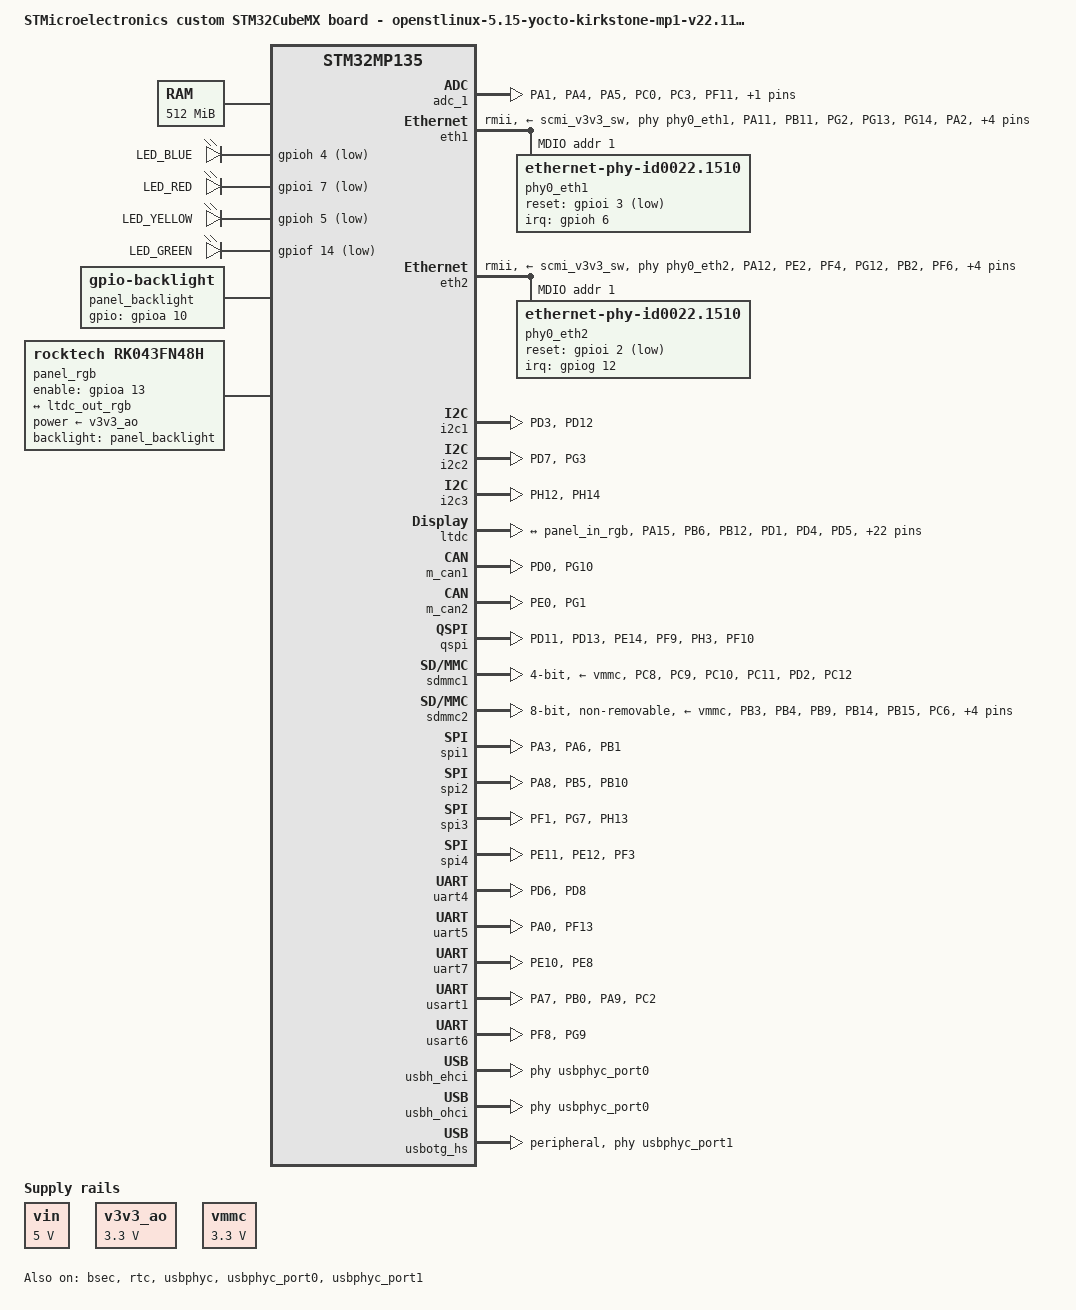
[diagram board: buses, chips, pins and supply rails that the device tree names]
/* SPDX-License-Identifier: (GPL-2.0+ OR BSD-3-Clause) */
/*
 * Copyright (C) STMicroelectronics 2023 - All Rights Reserved
 * Author: STM32CubeMX code generation for STMicroelectronics.
 */

/* For more information on Device Tree configuration, please refer to
 * https://wiki.st.com/stm32mpu/wiki/Category:Device_tree_configuration
 */

/dts-v1/;
#include <dt-bindings/pinctrl/stm32-pinfunc.h>

#include "stm32mp135.dtsi"
#include "stm32mp13xf.dtsi"

/* USER CODE BEGIN includes */
#include <dt-bindings/gpio/gpio.h>
#include <dt-bindings/input/input.h>
#include <dt-bindings/leds/common.h>
/* USER CODE END includes */

/ {
	model = "STMicroelectronics custom STM32CubeMX board - openstlinux-5.15-yocto-kirkstone-mp1-v22.11.23";
	compatible = "st,stm32mp135f-sagittarius-mx", "st,stm32mp135";

	memory@c0000000 {
		device_type = "memory";
		reg = <0xc0000000 0x20000000>;

		/* USER CODE BEGIN memory */
		/* USER CODE END memory */
	};

	reserved-memory {
		#address-cells = <1>;
		#size-cells = <1>;
		ranges;

		/* USER CODE BEGIN reserved-memory */
		optee_framebuffer@dd000000 {
			reg = <0xdd000000 0x1000000>;
			no-map;
		};

		optee@de000000 {
			reg = <0xde000000 0x2000000>;
			no-map;
		};
		/* USER CODE END reserved-memory */
	};

	/* USER CODE BEGIN root */
	aliases {
		serial0 = &uart4;
		serial1 = &uart5;
		serial2 = &uart7;
		serial3 = &usart1;
		serial4 = &usart6;
		ethernet0 = &eth1;
		ethernet1 = &eth2;
	};
	
	chosen {
		#address-cells = <1>;
		#size-cells = <1>;
		ranges;
		stdout-path = "serial0:115200n8";

		framebuffer {
			compatible = "simple-framebuffer";
			clocks = <&rcc LTDC_PX>;
			status = "disabled";
		};
	};

	led{
		compatible = "gpio-leds";

		led_blue{
			label = "LED_BLUE";
			gpios = <&gpioh 4 GPIO_ACTIVE_LOW>;
			linux,default-trigger = "heartbeat";
			status = "okay";
			default-state = "off";
		};

		led_red{
			label = "LED_RED";
			gpios = <&gpioi 7 GPIO_ACTIVE_LOW>;
			linux,default-trigger = "cpu0";
			status = "okay";
			default-state = "off";
		};

		led_yellow{
			label = "LED_YELLOW";
			gpios = <&gpioh 5 GPIO_ACTIVE_LOW>;
			linux,default-trigger = "mmc0";
			status = "okay";
			default-state = "off";
		};

		led_green{
			label = "LED_GREEN";
			gpios = <&gpiof 14 GPIO_ACTIVE_LOW>;
			linux,default-trigger = "mmc1";
			status = "okay";
			default-state = "off";
		};
	};
	
	vin: vin {
		compatible = "regulator-fixed";
		regulator-name = "vin";
		regulator-min-microvolt = <5000000>;
		regulator-max-microvolt = <5000000>;
		regulator-always-on;
	};

	v3v3_ao: v3v3_ao {
		compatible = "regulator-fixed";
		regulator-name = "v3v3_ao";
		regulator-min-microvolt = <3300000>;
		regulator-max-microvolt = <3300000>;
		regulator-always-on;
	};
	
	vmmc: fixedregulator@1 {
		compatible = "regulator-fixed";
		regulator-name = "vmmc";
		regulator-min-microvolt = <3300000>;
		regulator-max-microvolt = <3300000>;
		startup-delay-us = <70000>;
		enable-active-high;
	};

	usb_phy_tuning:usb-phy-tuning{
		st,hs-dc-level = <2>;
		st,fs-rftime-tuning;
		st,hs-rftime-reduction;
		st,hs-current-trim = <15>;
		st,hs-impedance-trim = <1>;
		st,squelch-level = <3>;
		st,hs-rx-offset = <2>;
		st,no-lsfs-sc;
	};

	panel_backlight: panel-backlight {
		compatible = "gpio-backlight";
		gpios = <&gpioa 10 GPIO_ACTIVE_HIGH>;
		default-on;
		default-brightness-level = <0>;
		status = "okay";
	};

	panel_rgb: panel-rgb {
		compatible = "rocktech,rk043fn48h", "panel-dpi";
		enable-gpios = <&gpioa 13 GPIO_ACTIVE_HIGH>;
		backlight = <&panel_backlight>;
		power-supply = <&v3v3_ao>;
		data-mapping = "bgr888";
		status = "okay";

		width-mm = <56>;
		height-mm = <97>;

		port {
			panel_in_rgb: endpoint {
				remote-endpoint = <&ltdc_out_rgb>;
			};
		};

		panel-timing {
			clock-frequency = <33260000>;
			hactive = <800>;
			vactive = <480>;
			hback-porch = <0>;
			hfront-porch = <256>;
			vback-porch = <0>;
			vfront-porch = <45>;
			hsync-len = <1>;
			vsync-len = <1>;
			hsync-active = <0>;
			vsync-active = <0>;
			de-active = <1>;
			pixelclk-active = <1>;
		};
	};
	/* USER CODE END root */

	clocks {

		/* USER CODE BEGIN clocks */
		/* USER CODE END clocks */
	};

}; /*root*/

&pinctrl {

	adc1_pins_mx: adc1_mx-0 {
		pins {
			pinmux = <STM32_PINMUX('A', 1, ANALOG)>, /* ADC1_INP3 */
					 <STM32_PINMUX('A', 4, ANALOG)>, /* ADC1_INP14 */
					 <STM32_PINMUX('A', 5, ANALOG)>, /* ADC1_INP2 */
					 <STM32_PINMUX('C', 0, ANALOG)>, /* ADC1_INP0 */
					 <STM32_PINMUX('C', 3, ANALOG)>, /* ADC1_INP13 */
					 <STM32_PINMUX('F', 11, ANALOG)>, /* ADC1_INP8 */
					 <STM32_PINMUX('F', 12, ANALOG)>; /* ADC1_INP6 */
		};
	};

	adc1_sleep_pins_mx: adc1_sleep_mx-0 {
		pins {
			pinmux = <STM32_PINMUX('A', 1, ANALOG)>, /* ADC1_INP3 */
					 <STM32_PINMUX('A', 4, ANALOG)>, /* ADC1_INP14 */
					 <STM32_PINMUX('A', 5, ANALOG)>, /* ADC1_INP2 */
					 <STM32_PINMUX('C', 0, ANALOG)>, /* ADC1_INP0 */
					 <STM32_PINMUX('C', 3, ANALOG)>, /* ADC1_INP13 */
					 <STM32_PINMUX('F', 11, ANALOG)>, /* ADC1_INP8 */
					 <STM32_PINMUX('F', 12, ANALOG)>; /* ADC1_INP6 */
		};
	};

	eth1_pins_mx: eth1_mx-0 {
		pins1 {
			pinmux = <STM32_PINMUX('A', 11, AF11)>, /* ETH1_CLK */
					 <STM32_PINMUX('B', 11, AF11)>, /* ETH1_TX_EN */
					 <STM32_PINMUX('G', 2, AF11)>, /* ETH1_MDC */
					 <STM32_PINMUX('G', 13, AF11)>, /* ETH1_TXD0 */
					 <STM32_PINMUX('G', 14, AF11)>; /* ETH1_TXD1 */
			bias-disable;
			drive-push-pull;
			slew-rate = <1>;
		};
		pins2 {
			pinmux = <STM32_PINMUX('A', 2, AF11)>; /* ETH1_MDIO */
			bias-disable;
			drive-push-pull;
			slew-rate = <0>;
		};
		pins3 {
			pinmux = <STM32_PINMUX('C', 1, AF10)>, /* ETH1_CRS_DV */
					 <STM32_PINMUX('C', 4, AF11)>, /* ETH1_RXD0 */
					 <STM32_PINMUX('C', 5, AF11)>, /* ETH1_RXD1 */
					 <STM32_PINMUX('H', 6, AF10)>; /* ETH1_PHY_INTN */
			bias-disable;
		};
	};

	eth1_sleep_pins_mx: eth1_sleep_mx-0 {
		pins {
			pinmux = <STM32_PINMUX('A', 2, ANALOG)>, /* ETH1_MDIO */
					 <STM32_PINMUX('A', 11, ANALOG)>, /* ETH1_CLK */
					 <STM32_PINMUX('B', 11, ANALOG)>, /* ETH1_TX_EN */
					 <STM32_PINMUX('C', 1, ANALOG)>, /* ETH1_CRS_DV */
					 <STM32_PINMUX('C', 4, ANALOG)>, /* ETH1_RXD0 */
					 <STM32_PINMUX('C', 5, ANALOG)>, /* ETH1_RXD1 */
					 <STM32_PINMUX('G', 2, ANALOG)>, /* ETH1_MDC */
					 <STM32_PINMUX('G', 13, ANALOG)>, /* ETH1_TXD0 */
					 <STM32_PINMUX('G', 14, ANALOG)>, /* ETH1_TXD1 */
					 <STM32_PINMUX('H', 6, ANALOG)>; /* ETH1_PHY_INTN */
		};
	};

	eth2_pins_mx: eth2_mx-0 {
		pins1 {
			pinmux = <STM32_PINMUX('A', 12, AF11)>, /* ETH2_CRS_DV */
					 <STM32_PINMUX('E', 2, AF10)>, /* ETH2_RXD1 */
					 <STM32_PINMUX('F', 4, AF11)>, /* ETH2_RXD0 */
					 <STM32_PINMUX('G', 12, AF10)>; /* ETH2_PHY_INTN */
			bias-disable;
		};
		pins2 {
			pinmux = <STM32_PINMUX('B', 2, AF11)>; /* ETH2_MDIO */
			bias-disable;
			drive-push-pull;
			slew-rate = <0>;
		};
		pins3 {
			pinmux = <STM32_PINMUX('F', 6, AF11)>, /* ETH2_TX_EN */
					 <STM32_PINMUX('F', 7, AF11)>, /* ETH2_TXD0 */
					 <STM32_PINMUX('G', 5, AF10)>, /* ETH2_MDC */
					 <STM32_PINMUX('G', 8, AF13)>, /* ETH2_CLK */
					 <STM32_PINMUX('G', 11, AF10)>; /* ETH2_TXD1 */
			bias-disable;
			drive-push-pull;
			slew-rate = <1>;
		};
	};

	eth2_sleep_pins_mx: eth2_sleep_mx-0 {
		pins {
			pinmux = <STM32_PINMUX('A', 12, ANALOG)>, /* ETH2_CRS_DV */
					 <STM32_PINMUX('B', 2, ANALOG)>, /* ETH2_MDIO */
					 <STM32_PINMUX('E', 2, ANALOG)>, /* ETH2_RXD1 */
					 <STM32_PINMUX('F', 4, ANALOG)>, /* ETH2_RXD0 */
					 <STM32_PINMUX('F', 6, ANALOG)>, /* ETH2_TX_EN */
					 <STM32_PINMUX('F', 7, ANALOG)>, /* ETH2_TXD0 */
					 <STM32_PINMUX('G', 5, ANALOG)>, /* ETH2_MDC */
					 <STM32_PINMUX('G', 8, ANALOG)>, /* ETH2_CLK */
					 <STM32_PINMUX('G', 11, ANALOG)>, /* ETH2_TXD1 */
					 <STM32_PINMUX('G', 12, ANALOG)>; /* ETH2_PHY_INTN */
		};
	};

	fdcan1_pins_mx: fdcan1_mx-0 {
		pins1 {
			pinmux = <STM32_PINMUX('D', 0, AF9)>; /* FDCAN1_RX */
			bias-disable;
		};
		pins2 {
			pinmux = <STM32_PINMUX('G', 10, AF9)>; /* FDCAN1_TX */
			bias-disable;
			drive-push-pull;
			slew-rate = <0>;
		};
	};

	fdcan1_sleep_pins_mx: fdcan1_sleep_mx-0 {
		pins {
			pinmux = <STM32_PINMUX('D', 0, ANALOG)>, /* FDCAN1_RX */
					 <STM32_PINMUX('G', 10, ANALOG)>; /* FDCAN1_TX */
		};
	};

	fdcan2_pins_mx: fdcan2_mx-0 {
		pins1 {
			pinmux = <STM32_PINMUX('E', 0, AF9)>; /* FDCAN2_RX */
			bias-disable;
		};
		pins2 {
			pinmux = <STM32_PINMUX('G', 1, AF9)>; /* FDCAN2_TX */
			bias-disable;
			drive-push-pull;
			slew-rate = <0>;
		};
	};

	fdcan2_sleep_pins_mx: fdcan2_sleep_mx-0 {
		pins {
			pinmux = <STM32_PINMUX('E', 0, ANALOG)>, /* FDCAN2_RX */
					 <STM32_PINMUX('G', 1, ANALOG)>; /* FDCAN2_TX */
		};
	};

	i2c1_pins_mx: i2c1_mx-0 {
		pins {
			pinmux = <STM32_PINMUX('D', 3, AF5)>, /* I2C1_SDA */
					 <STM32_PINMUX('D', 12, AF5)>; /* I2C1_SCL */
			bias-disable;
			drive-open-drain;
			slew-rate = <0>;
		};
	};

	i2c1_sleep_pins_mx: i2c1_sleep_mx-0 {
		pins {
			pinmux = <STM32_PINMUX('D', 3, ANALOG)>, /* I2C1_SDA */
					 <STM32_PINMUX('D', 12, ANALOG)>; /* I2C1_SCL */
		};
	};

	i2c2_pins_mx: i2c2_mx-0 {
		pins {
			pinmux = <STM32_PINMUX('D', 7, AF4)>, /* I2C2_SCL */
					 <STM32_PINMUX('G', 3, AF4)>; /* I2C2_SDA */
			bias-disable;
			drive-open-drain;
			slew-rate = <0>;
		};
	};

	i2c2_sleep_pins_mx: i2c2_sleep_mx-0 {
		pins {
			pinmux = <STM32_PINMUX('D', 7, ANALOG)>, /* I2C2_SCL */
					 <STM32_PINMUX('G', 3, ANALOG)>; /* I2C2_SDA */
		};
	};

	i2c3_pins_mx: i2c3_mx-0 {
		pins {
			pinmux = <STM32_PINMUX('H', 12, AF4)>, /* I2C3_SCL */
					 <STM32_PINMUX('H', 14, AF4)>; /* I2C3_SDA */
			bias-disable;
			drive-open-drain;
			slew-rate = <0>;
		};
	};

	i2c3_sleep_pins_mx: i2c3_sleep_mx-0 {
		pins {
			pinmux = <STM32_PINMUX('H', 12, ANALOG)>, /* I2C3_SCL */
					 <STM32_PINMUX('H', 14, ANALOG)>; /* I2C3_SDA */
		};
	};

	ltdc_pins_mx: ltdc_mx-0 {
		pins1 {
			pinmux = <STM32_PINMUX('A', 15, AF9)>, /* LTDC_R0 */
					 <STM32_PINMUX('B', 6, AF7)>, /* LTDC_B6 */
					 <STM32_PINMUX('B', 12, AF13)>, /* LTDC_R3 */
					 <STM32_PINMUX('D', 1, AF14)>, /* LTDC_G2 */
					 <STM32_PINMUX('D', 4, AF11)>, /* LTDC_R1 */
					 <STM32_PINMUX('D', 5, AF14)>, /* LTDC_G4 */
					 <STM32_PINMUX('D', 9, AF14)>, /* LTDC_B0 */
					 <STM32_PINMUX('D', 10, AF11)>, /* LTDC_B7 */
					 <STM32_PINMUX('D', 14, AF14)>, /* LTDC_R4 */
					 <STM32_PINMUX('D', 15, AF14)>, /* LTDC_B5 */
					 <STM32_PINMUX('E', 1, AF9)>, /* LTDC_HSYNC */
					 <STM32_PINMUX('E', 4, AF14)>, /* LTDC_G7 */
					 <STM32_PINMUX('E', 6, AF14)>, /* LTDC_G3 */
					 <STM32_PINMUX('E', 7, AF14)>, /* LTDC_R5 */
					 <STM32_PINMUX('E', 9, AF14)>, /* LTDC_R7 */
					 <STM32_PINMUX('E', 13, AF11)>, /* LTDC_B1 */
					 <STM32_PINMUX('F', 2, AF14)>, /* LTDC_B3 */
					 <STM32_PINMUX('F', 5, AF9)>, /* LTDC_G0 */
					 <STM32_PINMUX('G', 0, AF14)>, /* LTDC_G5 */
					 <STM32_PINMUX('G', 4, AF11)>, /* LTDC_VSYNC */
					 <STM32_PINMUX('G', 15, AF11)>, /* LTDC_B4 */
					 <STM32_PINMUX('H', 2, AF7)>, /* LTDC_G1 */
					 <STM32_PINMUX('H', 7, AF14)>, /* LTDC_B2 */
					 <STM32_PINMUX('H', 8, AF11)>, /* LTDC_R6 */
					 <STM32_PINMUX('H', 9, AF11)>, /* LTDC_DE */
					 <STM32_PINMUX('H', 10, AF14)>, /* LTDC_R2 */
					 <STM32_PINMUX('H', 11, AF14)>; /* LTDC_G6 */
			bias-disable;
			drive-push-pull;
			slew-rate = <0>;
		};
		pins2 {
			pinmux = <STM32_PINMUX('B', 13, AF13)>; /* LTDC_CLK */
			bias-disable;
			drive-push-pull;
			slew-rate = <1>;
		};
	};

	ltdc_sleep_pins_mx: ltdc_sleep_mx-0 {
		pins {
			pinmux = <STM32_PINMUX('A', 15, ANALOG)>, /* LTDC_R0 */
					 <STM32_PINMUX('B', 6, ANALOG)>, /* LTDC_B6 */
					 <STM32_PINMUX('B', 12, ANALOG)>, /* LTDC_R3 */
					 <STM32_PINMUX('B', 13, ANALOG)>, /* LTDC_CLK */
					 <STM32_PINMUX('D', 1, ANALOG)>, /* LTDC_G2 */
					 <STM32_PINMUX('D', 4, ANALOG)>, /* LTDC_R1 */
					 <STM32_PINMUX('D', 5, ANALOG)>, /* LTDC_G4 */
					 <STM32_PINMUX('D', 9, ANALOG)>, /* LTDC_B0 */
					 <STM32_PINMUX('D', 10, ANALOG)>, /* LTDC_B7 */
					 <STM32_PINMUX('D', 14, ANALOG)>, /* LTDC_R4 */
					 <STM32_PINMUX('D', 15, ANALOG)>, /* LTDC_B5 */
					 <STM32_PINMUX('E', 1, ANALOG)>, /* LTDC_HSYNC */
					 <STM32_PINMUX('E', 4, ANALOG)>, /* LTDC_G7 */
					 <STM32_PINMUX('E', 6, ANALOG)>, /* LTDC_G3 */
					 <STM32_PINMUX('E', 7, ANALOG)>, /* LTDC_R5 */
					 <STM32_PINMUX('E', 9, ANALOG)>, /* LTDC_R7 */
					 <STM32_PINMUX('E', 13, ANALOG)>, /* LTDC_B1 */
					 <STM32_PINMUX('F', 2, ANALOG)>, /* LTDC_B3 */
					 <STM32_PINMUX('F', 5, ANALOG)>, /* LTDC_G0 */
					 <STM32_PINMUX('G', 0, ANALOG)>, /* LTDC_G5 */
					 <STM32_PINMUX('G', 4, ANALOG)>, /* LTDC_VSYNC */
					 <STM32_PINMUX('G', 15, ANALOG)>, /* LTDC_B4 */
					 <STM32_PINMUX('H', 2, ANALOG)>, /* LTDC_G1 */
					 <STM32_PINMUX('H', 7, ANALOG)>, /* LTDC_B2 */
					 <STM32_PINMUX('H', 8, ANALOG)>, /* LTDC_R6 */
					 <STM32_PINMUX('H', 9, ANALOG)>, /* LTDC_DE */
					 <STM32_PINMUX('H', 10, ANALOG)>, /* LTDC_R2 */
					 <STM32_PINMUX('H', 11, ANALOG)>; /* LTDC_G6 */
		};
	};

	quadspi_pins_mx: quadspi_mx-0 {
		pins1 {
			pinmux = <STM32_PINMUX('D', 11, AF9)>, /* QUADSPI_BK1_IO2 */
					 <STM32_PINMUX('D', 13, AF9)>, /* QUADSPI_BK1_IO3 */
					 <STM32_PINMUX('E', 14, AF9)>, /* QUADSPI_BK1_NCS */
					 <STM32_PINMUX('F', 9, AF10)>, /* QUADSPI_BK1_IO1 */
					 <STM32_PINMUX('H', 3, AF13)>; /* QUADSPI_BK1_IO0 */
			bias-disable;
			drive-push-pull;
			slew-rate = <1>;
		};
		pins2 {
			pinmux = <STM32_PINMUX('F', 10, AF9)>; /* QUADSPI_CLK */
			bias-disable;
			drive-push-pull;
			slew-rate = <2>;
		};
	};

	quadspi_sleep_pins_mx: quadspi_sleep_mx-0 {
		pins {
			pinmux = <STM32_PINMUX('D', 11, ANALOG)>, /* QUADSPI_BK1_IO2 */
					 <STM32_PINMUX('D', 13, ANALOG)>, /* QUADSPI_BK1_IO3 */
					 <STM32_PINMUX('E', 14, ANALOG)>, /* QUADSPI_BK1_NCS */
					 <STM32_PINMUX('F', 9, ANALOG)>, /* QUADSPI_BK1_IO1 */
					 <STM32_PINMUX('F', 10, ANALOG)>, /* QUADSPI_CLK */
					 <STM32_PINMUX('H', 3, ANALOG)>; /* QUADSPI_BK1_IO0 */
		};
	};

	sdmmc1_pins_mx: sdmmc1_mx-0 {
		pins1 {
			pinmux = <STM32_PINMUX('C', 8, AF12)>, /* SDMMC1_D0 */
					 <STM32_PINMUX('C', 9, AF12)>, /* SDMMC1_D1 */
					 <STM32_PINMUX('C', 10, AF12)>, /* SDMMC1_D2 */
					 <STM32_PINMUX('C', 11, AF12)>, /* SDMMC1_D3 */
					 <STM32_PINMUX('D', 2, AF12)>; /* SDMMC1_CMD */
			bias-disable;
			drive-push-pull;
			slew-rate = <1>;
		};
		pins2 {
			pinmux = <STM32_PINMUX('C', 12, AF12)>; /* SDMMC1_CK */
			bias-disable;
			drive-push-pull;
			slew-rate = <3>;
		};
	};

	sdmmc1_opendrain_pins_mx: sdmmc1_opendrain_mx-0 {
		pins1 {
			pinmux = <STM32_PINMUX('C', 8, AF12)>, /* SDMMC1_D0 */
					 <STM32_PINMUX('C', 9, AF12)>, /* SDMMC1_D1 */
					 <STM32_PINMUX('C', 10, AF12)>, /* SDMMC1_D2 */
					 <STM32_PINMUX('C', 11, AF12)>; /* SDMMC1_D3 */
			bias-disable;
			drive-push-pull;
			slew-rate = <1>;
		};
		pins2 {
			pinmux = <STM32_PINMUX('C', 12, AF12)>; /* SDMMC1_CK */
			bias-disable;
			drive-push-pull;
			slew-rate = <3>;
		};
		pins3 {
			pinmux = <STM32_PINMUX('D', 2, AF12)>; /* SDMMC1_CMD */
			bias-disable;
			drive-open-drain;
			slew-rate = <1>;
		};
	};

	sdmmc1_sleep_pins_mx: sdmmc1_sleep_mx-0 {
		pins {
			pinmux = <STM32_PINMUX('C', 8, ANALOG)>, /* SDMMC1_D0 */
					 <STM32_PINMUX('C', 9, ANALOG)>, /* SDMMC1_D1 */
					 <STM32_PINMUX('C', 10, ANALOG)>, /* SDMMC1_D2 */
					 <STM32_PINMUX('C', 11, ANALOG)>, /* SDMMC1_D3 */
					 <STM32_PINMUX('C', 12, ANALOG)>, /* SDMMC1_CK */
					 <STM32_PINMUX('D', 2, ANALOG)>; /* SDMMC1_CMD */
		};
	};

	sdmmc2_pins_mx: sdmmc2_mx-0 {
		pins1 {
			pinmux = <STM32_PINMUX('B', 3, AF10)>, /* SDMMC2_D2 */
					 <STM32_PINMUX('B', 4, AF10)>, /* SDMMC2_D3 */
					 <STM32_PINMUX('B', 9, AF10)>, /* SDMMC2_D5 */
					 <STM32_PINMUX('B', 14, AF10)>, /* SDMMC2_D0 */
					 <STM32_PINMUX('B', 15, AF10)>, /* SDMMC2_D1 */
					 <STM32_PINMUX('C', 6, AF10)>, /* SDMMC2_D6 */
					 <STM32_PINMUX('C', 7, AF10)>, /* SDMMC2_D7 */
					 <STM32_PINMUX('F', 0, AF10)>, /* SDMMC2_D4 */
					 <STM32_PINMUX('G', 6, AF10)>; /* SDMMC2_CMD */
			bias-disable;
			drive-push-pull;
			slew-rate = <1>;
		};
		pins2 {
			pinmux = <STM32_PINMUX('E', 3, AF10)>; /* SDMMC2_CK */
			bias-disable;
			drive-push-pull;
			slew-rate = <3>;
		};
	};

	sdmmc2_opendrain_pins_mx: sdmmc2_opendrain_mx-0 {
		pins1 {
			pinmux = <STM32_PINMUX('B', 3, AF10)>, /* SDMMC2_D2 */
					 <STM32_PINMUX('B', 4, AF10)>, /* SDMMC2_D3 */
					 <STM32_PINMUX('B', 9, AF10)>, /* SDMMC2_D5 */
					 <STM32_PINMUX('B', 14, AF10)>, /* SDMMC2_D0 */
					 <STM32_PINMUX('B', 15, AF10)>, /* SDMMC2_D1 */
					 <STM32_PINMUX('C', 6, AF10)>, /* SDMMC2_D6 */
					 <STM32_PINMUX('C', 7, AF10)>, /* SDMMC2_D7 */
					 <STM32_PINMUX('F', 0, AF10)>; /* SDMMC2_D4 */
			bias-disable;
			drive-push-pull;
			slew-rate = <1>;
		};
		pins2 {
			pinmux = <STM32_PINMUX('E', 3, AF10)>; /* SDMMC2_CK */
			bias-disable;
			drive-push-pull;
			slew-rate = <3>;
		};
		pins3 {
			pinmux = <STM32_PINMUX('G', 6, AF10)>; /* SDMMC2_CMD */
			bias-disable;
			drive-open-drain;
			slew-rate = <1>;
		};
	};

	sdmmc2_sleep_pins_mx: sdmmc2_sleep_mx-0 {
		pins {
			pinmux = <STM32_PINMUX('B', 3, ANALOG)>, /* SDMMC2_D2 */
					 <STM32_PINMUX('B', 4, ANALOG)>, /* SDMMC2_D3 */
					 <STM32_PINMUX('B', 9, ANALOG)>, /* SDMMC2_D5 */
					 <STM32_PINMUX('B', 14, ANALOG)>, /* SDMMC2_D0 */
					 <STM32_PINMUX('B', 15, ANALOG)>, /* SDMMC2_D1 */
					 <STM32_PINMUX('C', 6, ANALOG)>, /* SDMMC2_D6 */
					 <STM32_PINMUX('C', 7, ANALOG)>, /* SDMMC2_D7 */
					 <STM32_PINMUX('E', 3, ANALOG)>, /* SDMMC2_CK */
					 <STM32_PINMUX('F', 0, ANALOG)>, /* SDMMC2_D4 */
					 <STM32_PINMUX('G', 6, ANALOG)>; /* SDMMC2_CMD */
		};
	};

	spi1_pins_mx: spi1_mx-0 {
		pins {
			pinmux = <STM32_PINMUX('A', 3, AF5)>, /* SPI1_MOSI */
					 <STM32_PINMUX('A', 6, AF5)>, /* SPI1_MISO */
					 <STM32_PINMUX('B', 1, AF5)>; /* SPI1_SCK */
			bias-disable;
			drive-push-pull;
			slew-rate = <1>;
		};
	};

	spi1_sleep_pins_mx: spi1_sleep_mx-0 {
		pins {
			pinmux = <STM32_PINMUX('A', 3, ANALOG)>, /* SPI1_MOSI */
					 <STM32_PINMUX('A', 6, ANALOG)>, /* SPI1_MISO */
					 <STM32_PINMUX('B', 1, ANALOG)>; /* SPI1_SCK */
		};
	};

	spi2_pins_mx: spi2_mx-0 {
		pins {
			pinmux = <STM32_PINMUX('A', 8, AF8)>, /* SPI2_MOSI */
					 <STM32_PINMUX('B', 5, AF5)>, /* SPI2_MISO */
					 <STM32_PINMUX('B', 10, AF6)>; /* SPI2_SCK */
			bias-disable;
			drive-push-pull;
			slew-rate = <1>;
		};
	};

	spi2_sleep_pins_mx: spi2_sleep_mx-0 {
		pins {
			pinmux = <STM32_PINMUX('A', 8, ANALOG)>, /* SPI2_MOSI */
					 <STM32_PINMUX('B', 5, ANALOG)>, /* SPI2_MISO */
					 <STM32_PINMUX('B', 10, ANALOG)>; /* SPI2_SCK */
		};
	};

	spi3_pins_mx: spi3_mx-0 {
		pins {
			pinmux = <STM32_PINMUX('F', 1, AF5)>, /* SPI3_MOSI */
					 <STM32_PINMUX('G', 7, AF5)>, /* SPI3_MISO */
					 <STM32_PINMUX('H', 13, AF6)>; /* SPI3_SCK */
			bias-disable;
			drive-push-pull;
			slew-rate = <1>;
		};
	};

	spi3_sleep_pins_mx: spi3_sleep_mx-0 {
		pins {
			pinmux = <STM32_PINMUX('F', 1, ANALOG)>, /* SPI3_MOSI */
					 <STM32_PINMUX('G', 7, ANALOG)>, /* SPI3_MISO */
					 <STM32_PINMUX('H', 13, ANALOG)>; /* SPI3_SCK */
		};
	};

	spi4_pins_mx: spi4_mx-0 {
		pins {
			pinmux = <STM32_PINMUX('E', 11, AF5)>, /* SPI4_MOSI */
					 <STM32_PINMUX('E', 12, AF5)>, /* SPI4_SCK */
					 <STM32_PINMUX('F', 3, AF5)>; /* SPI4_MISO */
			bias-disable;
			drive-push-pull;
			slew-rate = <1>;
		};
	};

	spi4_sleep_pins_mx: spi4_sleep_mx-0 {
		pins {
			pinmux = <STM32_PINMUX('E', 11, ANALOG)>, /* SPI4_MOSI */
					 <STM32_PINMUX('E', 12, ANALOG)>, /* SPI4_SCK */
					 <STM32_PINMUX('F', 3, ANALOG)>; /* SPI4_MISO */
		};
	};

	uart4_pins_mx: uart4_mx-0 {
		pins1 {
			pinmux = <STM32_PINMUX('D', 6, AF8)>; /* UART4_TX */
			bias-disable;
			drive-push-pull;
			slew-rate = <0>;
		};
		pins2 {
			pinmux = <STM32_PINMUX('D', 8, AF8)>; /* UART4_RX */
			bias-disable;
		};
	};

	uart4_sleep_pins_mx: uart4_sleep_mx-0 {
		pins {
			pinmux = <STM32_PINMUX('D', 6, ANALOG)>, /* UART4_TX */
					 <STM32_PINMUX('D', 8, ANALOG)>; /* UART4_RX */
		};
	};

	uart5_pins_mx: uart5_mx-0 {
		pins1 {
			pinmux = <STM32_PINMUX('A', 0, AF8)>; /* UART5_TX */
			bias-disable;
			drive-push-pull;
			slew-rate = <0>;
		};
		pins2 {
			pinmux = <STM32_PINMUX('F', 13, AF8)>; /* UART5_RX */
			bias-disable;
		};
	};

	uart5_sleep_pins_mx: uart5_sleep_mx-0 {
		pins {
			pinmux = <STM32_PINMUX('A', 0, ANALOG)>, /* UART5_TX */
					 <STM32_PINMUX('F', 13, ANALOG)>; /* UART5_RX */
		};
	};

	uart7_pins_mx: uart7_mx-0 {
		pins1 {
			pinmux = <STM32_PINMUX('E', 10, AF7)>; /* UART7_RX */
			bias-disable;
		};
		pins2 {
			pinmux = <STM32_PINMUX('E', 8, AF7)>; /* UART7_TX */
			bias-disable;
			drive-push-pull;
			slew-rate = <0>;
		};
	};

	uart7_sleep_pins_mx: uart7_sleep_mx-0 {
		pins {
			pinmux = <STM32_PINMUX('E', 8, ANALOG)>, /* UART7_TX */
					 <STM32_PINMUX('E', 10, ANALOG)>; /* UART7_RX */
		};
	};

	usart1_pins_mx: usart1_mx-0 {
		pins1 {
			pinmux = <STM32_PINMUX('A', 7, AF7)>, /* USART1_CTS */
					 <STM32_PINMUX('B', 0, AF4)>; /* USART1_RX */
			bias-disable;
		};
		pins2 {
			pinmux = <STM32_PINMUX('A', 9, AF7)>, /* USART1_TX */
					 <STM32_PINMUX('C', 2, AF7)>; /* USART1_RTS */
			bias-disable;
			drive-push-pull;
			slew-rate = <0>;
		};
	};

	usart1_sleep_pins_mx: usart1_sleep_mx-0 {
		pins {
			pinmux = <STM32_PINMUX('A', 7, ANALOG)>, /* USART1_CTS */
					 <STM32_PINMUX('A', 9, ANALOG)>, /* USART1_TX */
					 <STM32_PINMUX('B', 0, ANALOG)>, /* USART1_RX */
					 <STM32_PINMUX('C', 2, ANALOG)>; /* USART1_RTS */
		};
	};

	usart6_pins_mx: usart6_mx-0 {
		pins1 {
			pinmux = <STM32_PINMUX('F', 8, AF7)>; /* USART6_TX */
			bias-disable;
			drive-push-pull;
			slew-rate = <0>;
		};
		pins2 {
			pinmux = <STM32_PINMUX('G', 9, AF7)>; /* USART6_RX */
			bias-disable;
		};
	};

	usart6_sleep_pins_mx: usart6_sleep_mx-0 {
		pins {
			pinmux = <STM32_PINMUX('F', 8, ANALOG)>, /* USART6_TX */
					 <STM32_PINMUX('G', 9, ANALOG)>; /* USART6_RX */
		};
	};

	/* USER CODE BEGIN pinctrl */
	/* USER CODE END pinctrl */
};

&adc_1{
	pinctrl-names = "default", "sleep";
	pinctrl-0 = <&adc1_pins_mx>;
	pinctrl-1 = <&adc1_sleep_pins_mx>;
	status = "okay";

	/* USER CODE BEGIN adc_1 */
	/* USER CODE END adc_1 */
};

&bsec{
	status = "okay";

	/* USER CODE BEGIN bsec */
	/* USER CODE END bsec */
};

&dma1{
	status = "okay";

	/* USER CODE BEGIN dma1 */
	sram = <&dma_pool>;
	/* USER CODE END dma1 */
};

&dma2{
	status = "okay";

	/* USER CODE BEGIN dma2 */
	sram = <&dma_pool>;
	/* USER CODE END dma2 */
};

&dmamux1{
	status = "okay";

	dma-masters = <&dma1 &dma2>;
	dma-channels = <16>;

	/* USER CODE BEGIN dmamux1 */
	/* USER CODE END dmamux1 */
};

&eth1{
	pinctrl-names = "default", "sleep";
	pinctrl-0 = <&eth1_pins_mx>;
	pinctrl-1 = <&eth1_sleep_pins_mx>;
	status = "okay";

	/* USER CODE BEGIN eth1 */
	phy-mode = "rmii";
	max-speed = <100>;
	phy-handle = <&phy0_eth1>;
	st,eth-ref-clk-sel;
	phy-supply = <&scmi_v3v3_sw>;
	nvmem-cells = <&ethernet_mac1_address>;
	nvmem-cell-names = "mac-address";

	mdio0 {
		#address-cells = <1>;
		#size-cells = <0>;
		compatible = "snps,dwmac-mdio";
		phy0_eth1: ethernet-phy@0 {
			reg = <1>;
			compatible = "ethernet-phy-id0022.1510";
			reset-gpios = <&gpioi 3 GPIO_ACTIVE_LOW>;
			interrupt-parent = <&gpioh>;
			interrupts = <6 IRQ_TYPE_EDGE_FALLING>; /* ETH_MDINT# */
			reset-delay-us = <10000>;
			post-reset-delay-us = <1000>;
		};
	};
	/* USER CODE END eth1 */
};

&eth2{
	pinctrl-names = "default", "sleep";
	pinctrl-0 = <&eth2_pins_mx>;
	pinctrl-1 = <&eth2_sleep_pins_mx>;
	status = "okay";

	/* USER CODE BEGIN eth2 */
	phy-mode = "rmii";
	max-speed = <100>;
	phy-handle = <&phy0_eth2>;
	st,eth-ref-clk-sel;
	phy-supply = <&scmi_v3v3_sw>;
	nvmem-cells = <&ethernet_mac2_address>;
	nvmem-cell-names = "mac-address";

	mdio0 {
		#address-cells = <1>;
		#size-cells = <0>;
		compatible = "snps,dwmac-mdio";
		phy0_eth2: ethernet-phy@0 {
			reg = <1>;
			compatible = "ethernet-phy-id0022.1510";
			reset-gpios = <&gpioi 2 GPIO_ACTIVE_LOW>;
			interrupt-parent = <&gpiog>;
			interrupts = <12 IRQ_TYPE_EDGE_FALLING>; /* ETH_MDINT# */
			reset-delay-us = <10000>;
			post-reset-delay-us = <1000>;
		};
	};
	/* USER CODE END eth2 */
};

&i2c1{
	pinctrl-names = "default", "sleep";
	pinctrl-0 = <&i2c1_pins_mx>;
	pinctrl-1 = <&i2c1_sleep_pins_mx>;
	status = "okay";

	/* USER CODE BEGIN i2c1 */
	/* USER CODE END i2c1 */
};

&i2c2{
	pinctrl-names = "default", "sleep";
	pinctrl-0 = <&i2c2_pins_mx>;
	pinctrl-1 = <&i2c2_sleep_pins_mx>;
	status = "okay";

	/* USER CODE BEGIN i2c2 */
	/* USER CODE END i2c2 */
};

&i2c3{
	pinctrl-names = "default", "sleep";
	pinctrl-0 = <&i2c3_pins_mx>;
	pinctrl-1 = <&i2c3_sleep_pins_mx>;
	status = "okay";

	/* USER CODE BEGIN i2c3 */
	/* USER CODE END i2c3 */
};

&ltdc{
	pinctrl-names = "default", "sleep";
	pinctrl-0 = <&ltdc_pins_mx>;
	pinctrl-1 = <&ltdc_sleep_pins_mx>;
	status = "okay";

	/* USER CODE BEGIN ltdc */
	port {
		#address-cells = <1>;
		#size-cells = <0>;

		ltdc_out_rgb: endpoint@0 {
			reg = <0>;
			remote-endpoint = <&panel_in_rgb>;
		};
	};
	/* USER CODE END ltdc */
};

&m_can1{
	pinctrl-names = "default", "sleep";
	pinctrl-0 = <&fdcan1_pins_mx>;
	pinctrl-1 = <&fdcan1_sleep_pins_mx>;
	status = "okay";

	/* USER CODE BEGIN m_can1 */
	/* USER CODE END m_can1 */
};

&m_can2{
	pinctrl-names = "default", "sleep";
	pinctrl-0 = <&fdcan2_pins_mx>;
	pinctrl-1 = <&fdcan2_sleep_pins_mx>;
	status = "okay";

	/* USER CODE BEGIN m_can2 */
	/* USER CODE END m_can2 */
};

&mdma{
	status = "okay";

	/* USER CODE BEGIN mdma */
	/* USER CODE END mdma */
};

&qspi{
	pinctrl-names = "default", "sleep";
	pinctrl-0 = <&quadspi_pins_mx>;
	pinctrl-1 = <&quadspi_sleep_pins_mx>;
	status = "okay";

	/* USER CODE BEGIN qspi */
	/* USER CODE END qspi */
};

&rcc{
	status = "okay";

	/* USER CODE BEGIN rcc */
	/* USER CODE END rcc */
};

&rtc{
	status = "okay";

	/* USER CODE BEGIN rtc */
	/* USER CODE END rtc */
};

&sdmmc1{
	pinctrl-names = "default", "opendrain", "sleep";
	pinctrl-0 = <&sdmmc1_pins_mx>;
	pinctrl-1 = <&sdmmc1_opendrain_pins_mx>;
	pinctrl-2 = <&sdmmc1_sleep_pins_mx>;
	status = "okay";

	/* USER CODE BEGIN sdmmc1 */
	disable-wp;
	st,neg-edge;
	bus-width = <4>;
	vmmc-supply = <&vmmc>;
	/* USER CODE END sdmmc1 */
};

&sdmmc2{
	pinctrl-names = "default", "opendrain", "sleep";
	pinctrl-0 = <&sdmmc2_pins_mx>;
	pinctrl-1 = <&sdmmc2_opendrain_pins_mx>;
	pinctrl-2 = <&sdmmc2_sleep_pins_mx>;
	status = "okay";

	/* USER CODE BEGIN sdmmc2 */
	non-removable;
	no-sd;
	no-sdio;
	st,neg-edge;
	bus-width = <8>;
	vmmc-supply = <&vmmc>;
	vqmmc-supply = <&vmmc>;
	mmc-ddr-3_3v;
	/* USER CODE END sdmmc2 */
};

&spi1{
	pinctrl-names = "default", "sleep";
	pinctrl-0 = <&spi1_pins_mx>;
	pinctrl-1 = <&spi1_sleep_pins_mx>;
	status = "okay";

	/* USER CODE BEGIN spi1 */
	/* USER CODE END spi1 */
};

&spi2{
	pinctrl-names = "default", "sleep";
	pinctrl-0 = <&spi2_pins_mx>;
	pinctrl-1 = <&spi2_sleep_pins_mx>;
	status = "okay";

	/* USER CODE BEGIN spi2 */
	/* USER CODE END spi2 */
};

&spi3{
	pinctrl-names = "default", "sleep";
	pinctrl-0 = <&spi3_pins_mx>;
	pinctrl-1 = <&spi3_sleep_pins_mx>;
	status = "okay";

	/* USER CODE BEGIN spi3 */
	/* USER CODE END spi3 */
};

&spi4{
	pinctrl-names = "default", "sleep";
	pinctrl-0 = <&spi4_pins_mx>;
	pinctrl-1 = <&spi4_sleep_pins_mx>;
	status = "okay";

	/* USER CODE BEGIN spi4 */
	/* USER CODE END spi4 */
};

&uart4{
	pinctrl-names = "default", "sleep";
	pinctrl-0 = <&uart4_pins_mx>;
	pinctrl-1 = <&uart4_sleep_pins_mx>;
	status = "okay";

	/* USER CODE BEGIN uart4 */
	/* USER CODE END uart4 */
};

&uart5{
	pinctrl-names = "default", "sleep";
	pinctrl-0 = <&uart5_pins_mx>;
	pinctrl-1 = <&uart5_sleep_pins_mx>;
	status = "okay";

	/* USER CODE BEGIN uart5 */
	/* USER CODE END uart5 */
};

&uart7{
	pinctrl-names = "default", "sleep";
	pinctrl-0 = <&uart7_pins_mx>;
	pinctrl-1 = <&uart7_sleep_pins_mx>;
	status = "okay";

	/* USER CODE BEGIN uart7 */
	/* USER CODE END uart7 */
};

&usart1{
	pinctrl-names = "default", "sleep";
	pinctrl-0 = <&usart1_pins_mx>;
	pinctrl-1 = <&usart1_sleep_pins_mx>;
	status = "okay";

	/* USER CODE BEGIN usart1 */
	/* USER CODE END usart1 */
};

&usart6{
	pinctrl-names = "default", "sleep";
	pinctrl-0 = <&usart6_pins_mx>;
	pinctrl-1 = <&usart6_sleep_pins_mx>;
	status = "okay";

	/* USER CODE BEGIN usart6 */
	/* USER CODE END usart6 */
};

&usbh_ehci{
	status = "okay";

	/* USER CODE BEGIN usbh_ehci */
	phys = <&usbphyc_port0>;
	phy-names = "usb";
	/* USER CODE END usbh_ehci */
};

&usbh_ohci{
	status = "okay";

	/* USER CODE BEGIN usbh_ohci */
	phys = <&usbphyc_port0>;
	phy-names = "usb";
	/* USER CODE END usbh_ohci */
};

&usbotg_hs{
	status = "okay";

	/* USER CODE BEGIN usbotg_hs */
	phys = <&usbphyc_port1 0>;
	phy-names = "usb2-phy";
 	u-boot,force-b-session-valid;
 	dr_mode = "peripheral";
	/* USER CODE END usbotg_hs */
};

&usbphyc{
	status = "okay";

	/* USER CODE BEGIN usbphyc */
	/* USER CODE END usbphyc */
};

&usbphyc_port0{
	status = "okay";

	/* USER CODE BEGIN usbphyc_port0 */
	phy-supply = <&scmi_vdd_usb>;
	st,phy-tuning = <&usb_phy_tuning>;
	/* USER CODE END usbphyc_port0 */
};

&usbphyc_port1{
	status = "okay";

	/* USER CODE BEGIN usbphyc_port1 */
	phy-supply = <&scmi_vdd_usb>;
	st,phy-tuning = <&usb_phy_tuning>;
	/* USER CODE END usbphyc_port1 */
};

/* USER CODE BEGIN addons */
&scmi_regu {
	scmi_vddcpu: voltd-vddcpu {
		voltd-name = "vddcpu";
		regulator-name = "vddcpu";
	};
	scmi_vdd: voltd-vdd {
		voltd-name = "vdd";
		regulator-name = "vdd";
	};
	scmi_vddcore: voltd-vddcore {
		voltd-name = "vddcore";
		regulator-name = "vddcore";
	};
	scmi_vdd_adc: voltd-vdd_adc {
		voltd-name = "vdd_adc";
		regulator-name = "vdd_adc";
	};
	scmi_vdd_usb: voltd-vdd_usb {
		voltd-name = "vdd_usb";
		regulator-name = "vdd_usb";
	};
	scmi_vdd_sd: voltd-vdd_sd {
		voltd-name = "vdd_sd";
		regulator-name = "vdd_sd";
	};
	scmi_v1v8_periph: voltd-v1v8_periph {
		voltd-name = "v1v8_periph";
		regulator-name = "v1v8_periph";
	};
	scmi_v3v3_sw: voltd-v3v3_sw {
		voltd-name = "v3v3_sw";
		regulator-name = "v3v3_sw";
	};
};

&sram {
	dma_pool: dma-sram@0 {
		reg = <0x0 0x4000>;
		pool;
	};
};
/* USER CODE END addons */

